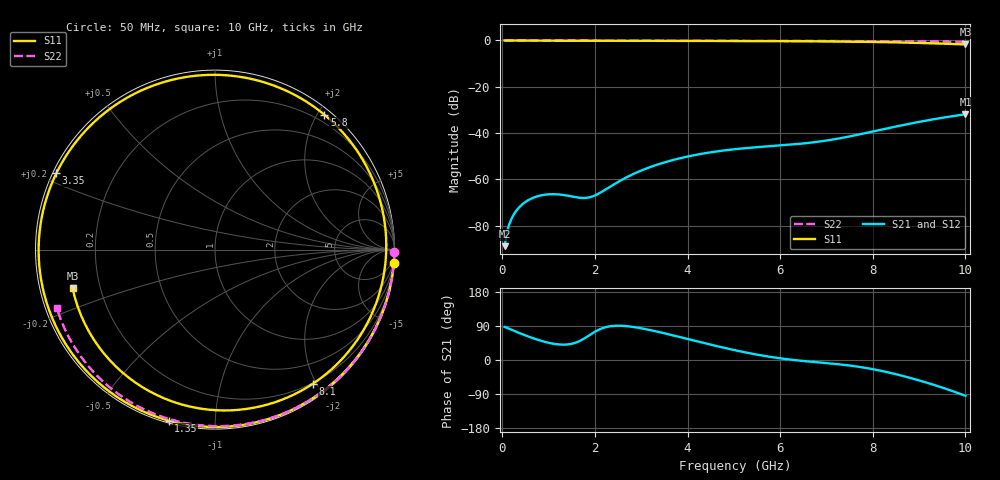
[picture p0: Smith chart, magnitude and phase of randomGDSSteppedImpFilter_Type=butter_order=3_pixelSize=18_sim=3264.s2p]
! freq	dB(S11)	phase(S11)	dB(S12)	phase(S12)
!  dB(S21)	phase(S21)	dB(S22)	phase(S22)
!S-par simulation data
#  GHz  S  DB  R 50
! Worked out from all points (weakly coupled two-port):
!   200 points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, 50 MHz to 10 GHz, reference 50 ohm
!   highest |S21| = -31.87 dB at 10 GHz (marker M1); lowest = -88.8 dB at 50 MHz (marker M2)
!   lowest |S11| = -1.7 dB at 10 GHz (marker M3), VSWR 10.26, Z = 4.96 - j6.58 ohm
!   |S11| at or under -10 dB: nowhere
!   |S22| runs from -0.5 to 0.0 dB; largest |S21 - S12| = 0
!   S11 on the Smith chart (normalised r, x): 50 MHz: 0, -26; 1.35 GHz: 0.01, -0.76; 3.35 GHz: 0.01, +0.23; 5.8 GHz: 0.09, +2.10; 8.1 GHz: 0.19, -1.95; 10 GHz: 0.10, -0.13
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0.05  -0.00 -4.4  -88.77 87.4  -88.77 87.4  -0.00 -0.9
0.15  -0.02 -13.2  -79.31 82.2  -79.31 82.2  -0.00 -2.7
0.4  -0.05 -34.5  -71.29 69.6  -71.29 69.6  -0.01 -7.3
0.7  -0.08 -58.9  -67.63 56.0  -67.63 56.0  -0.02 -12.7
1  -0.09 -81.4  -66.39 45.4  -66.39 45.4  -0.02 -18.1
1.35  -0.11 -105.2  -66.78 40.6  -66.78 40.6  -0.03 -24.3
1.75  -0.13 -129.2  -67.98 55.4  -67.98 55.4  -0.04 -31.4
2  -0.13 -142.9  -66.88 74.6  -66.88 74.6  -0.05 -35.8
2.5  -0.15 -167.8  -61.04 90.5  -61.04 90.5  -0.06 -44.4
3.35  -0.17 154.3  -53.56 74.7  -53.56 74.7  -0.08 -58.8
3.4  -0.17 152.2  -53.23 73.3  -53.23 73.3  -0.08 -59.6
4.25  -0.20 116.7  -49.10 47.9  -49.10 47.9  -0.10 -73.5
5.05  -0.24 83.2  -46.86 25.1  -46.86 25.1  -0.13 -86.1
5.8  -0.29 51.0  -45.59 8.0  -45.59 8.0  -0.17 -97.6
6.7  -0.37 11.1  -44.00 -4.9  -44.00 -4.9  -0.22 -111.1
7.4  -0.49 -20.9  -41.80 -13.1  -41.80 -13.1  -0.27 -121.3
8.1  -0.68 -54.0  -38.85 -26.6  -38.85 -26.6  -0.33 -131.6
8.35  -0.77 -66.3  -37.77 -33.1  -37.77 -33.1  -0.35 -135.2
8.8  -0.96 -89.5  -35.91 -47.0  -35.91 -47.0  -0.40 -141.8
9.2  -1.18 -112.0  -34.41 -61.1  -34.41 -61.1  -0.44 -147.7
9.6  -1.44 -136.8  -33.05 -76.9  -33.05 -76.9  -0.49 -153.7
10  -1.70 -164.9  -31.87 -94.4  -31.87 -94.4  -0.54 -159.8
